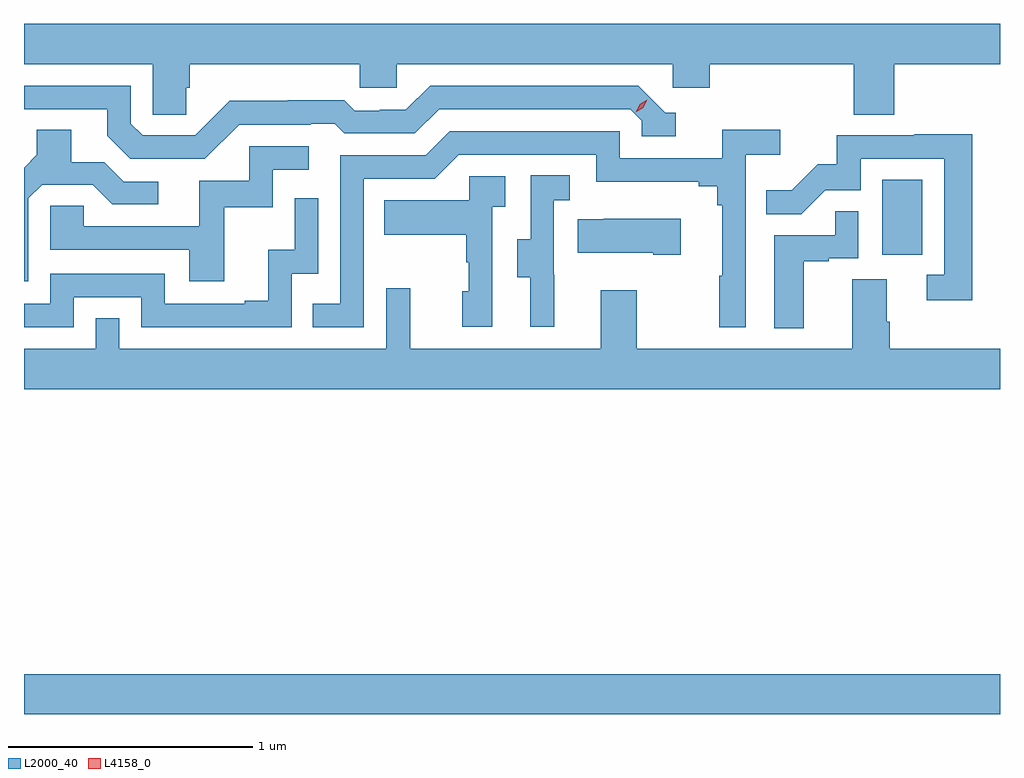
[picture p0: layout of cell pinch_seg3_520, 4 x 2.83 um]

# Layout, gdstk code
import gdstk
lib = gdstk.Library(unit=1e-6, precision=1e-09)
def R(c, l, rs):  # rectangles x0, y0, x1, y1
    for r in rs: c.add(gdstk.rectangle(r[:2], r[2:], *l))
def P(c, l, *ps):  # polygons
    for p in ps: c.add(gdstk.Polygon(p, *l))
L2000_40 = (2000, 40)
L4158_0 = (4158, 0)

pinch_seg3_520 = lib.new_cell('pinch_seg3_520')
R(pinch_seg3_520, L2000_40, [(1079.148,703.58,1083.148,703.744), (1082.666,705.462,1082.83,705.769)])
P(pinch_seg3_520, L2000_40, [(1079.813,706.146),(1079.828,706.146),(1079.828,706.244),(1080.525,706.244),(1080.525,706.146),(1080.675,706.146),(1080.675,706.244),(1081.806,706.244),(1081.806,706.146),(1081.958,706.146),(1081.958,706.244),(1082.549,706.244),(1082.549,706.036),(1082.714,706.036),(1082.714,706.244),(1083.148,706.244),(1083.148,706.408),(1079.148,706.408),(1079.148,706.244),(1079.676,706.244),(1079.676,706.036),(1079.813,706.036)],
  [(1080.03,705.996),(1080.323,705.996),(1080.323,705.999),(1080.422,705.999),(1080.461,705.96),(1080.75,705.96),(1080.849,706.059),(1081.632,706.059),(1081.68,706.011),(1081.68,705.948),(1081.819,705.948),(1081.819,706.044),(1081.776,706.044),(1081.665,706.155),(1080.812,706.155),(1080.713,706.056),(1080.606,706.056),(1080.606,706.053),(1080.503,706.053),(1080.461,706.096),(1080.228,706.096),(1080.228,706.093),(1079.992,706.093),(1079.85,705.951),(1079.634,705.951),(1079.586,705.999),(1079.586,706.155),(1079.148,706.155),(1079.148,706.059),(1079.489,706.059),(1079.489,705.949),(1079.583,705.855),(1079.889,705.855)],
  [(1080.54,705.774),(1080.831,705.774),(1080.93,705.873),(1081.494,705.873),(1081.494,705.761),(1081.913,705.761),(1081.913,705.742),(1081.99,705.742),(1081.99,705.665),(1082.009,705.665),(1082.009,705.377),(1081.998,705.377),(1081.998,705.165),(1082.106,705.165),(1082.106,705.872),(1082.248,705.872),(1082.248,705.974),(1082.009,705.974),(1082.009,705.858),(1081.59,705.858),(1081.59,705.969),(1080.893,705.969),(1080.794,705.87),(1080.444,705.87),(1080.444,705.261),(1080.331,705.261),(1080.331,705.165),(1080.54,705.165)],
  [(1079.166,705.693),(1079.223,705.75),(1079.429,705.75),(1079.51,705.669),(1079.698,705.669),(1079.698,705.762),(1079.556,705.762),(1079.476,705.842),(1079.341,705.842),(1079.341,705.974),(1079.201,705.974),(1079.201,705.872),(1079.148,705.819),(1079.148,705.354),(1079.166,705.354)],
  [(1083.035,705.956),(1082.797,705.956),(1082.797,705.951),(1082.479,705.951),(1082.479,705.834),(1082.402,705.834),(1082.295,705.727),(1082.191,705.727),(1082.191,705.628),(1082.334,705.628),(1082.432,705.726),(1082.577,705.726),(1082.577,705.855),(1082.919,705.855),(1082.919,705.381),(1082.847,705.381),(1082.847,705.276),(1083.035,705.276)],
  [(1079.969,705.657),(1080.168,705.657),(1080.168,705.81),(1080.316,705.81),(1080.316,705.906),(1080.072,705.906),(1080.072,705.765),(1079.867,705.765),(1079.867,705.579),(1079.393,705.579),(1079.393,705.663),(1079.256,705.663),(1079.256,705.483),(1079.825,705.483),(1079.825,705.354),(1079.969,705.354)],
  [(1081.322,705.381),(1081.32,705.381),(1081.32,705.685),(1081.384,705.685),(1081.384,705.788),(1081.224,705.788),(1081.224,705.525),(1081.169,705.525),(1081.169,705.37),(1081.223,705.37),(1081.223,705.168),(1081.322,705.168)],
  [(1081.068,705.659),(1081.12,705.659),(1081.12,705.783),(1080.972,705.783),(1080.972,705.685),(1080.625,705.685),(1080.625,705.545),(1080.96,705.545),(1080.96,705.431),(1080.97,705.431),(1080.97,705.312),(1080.944,705.312),(1080.944,705.168),(1081.068,705.168)],
  [(1079.352,705.288),(1079.628,705.288),(1079.628,705.165),(1080.246,705.165),(1080.246,705.384),(1080.354,705.384),(1080.354,705.694),(1080.258,705.694),(1080.258,705.482),(1080.149,705.482),(1080.149,705.274),(1080.053,705.274),(1080.053,705.261),(1079.724,705.261),(1079.724,705.384),(1079.256,705.384),(1079.256,705.261),(1079.148,705.261),(1079.148,705.165),(1079.352,705.165)],
  [(1082.344,705.435),(1082.447,705.435),(1082.447,705.447),(1082.568,705.447),(1082.568,705.641),(1082.473,705.641),(1082.473,705.543),(1082.222,705.543),(1082.222,705.161),(1082.344,705.161)],
  [(1081.84,705.61),(1081.525,705.61),(1081.525,705.607),(1081.417,705.607),(1081.417,705.47),(1081.727,705.47),(1081.727,705.463),(1081.84,705.463)],
  [(1083.148,705.076),(1082.696,705.076),(1082.696,705.188),(1082.683,705.188),(1082.683,705.362),(1082.543,705.362),(1082.543,705.076),(1081.659,705.076),(1081.659,705.316),(1081.511,705.316),(1081.511,705.076),(1080.731,705.076),(1080.731,705.325),(1080.633,705.325),(1080.633,705.076),(1079.538,705.076),(1079.538,705.203),(1079.442,705.203),(1079.442,705.076),(1079.148,705.076),(1079.148,704.912),(1083.148,704.912)])
P(pinch_seg3_520, L4158_0, [(1081.655,706.046),(1081.655,706.046),(1081.671,706.079),(1081.702,706.098),(1081.702,706.098),(1081.702,706.098),(1081.686,706.065),(1081.655,706.046)])

lib.write_gds('pinch_seg3_520.gds')
